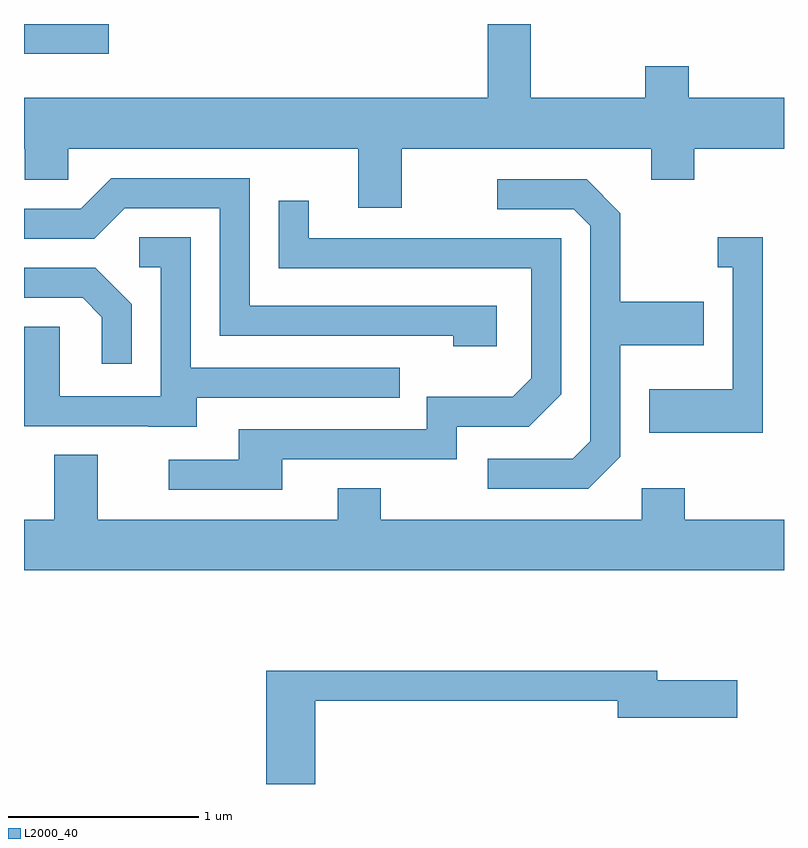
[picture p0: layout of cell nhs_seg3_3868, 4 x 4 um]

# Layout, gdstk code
import gdstk
lib = gdstk.Library(unit=1e-6, precision=1e-09)
def R(c, l, rs):  # rectangles x0, y0, x1, y1
    for r in rs: c.add(gdstk.rectangle(r[:2], r[2:], *l))
def P(c, l, *ps):  # polygons
    for p in ps: c.add(gdstk.Polygon(p, *l))
L2000_40 = (2000, 40)

nhs_seg3_3868 = lib.new_cell('nhs_seg3_3868')
R(nhs_seg3_3868, L2000_40, [(297.611,1239.736,298.058,1239.892)])
P(nhs_seg3_3868, L2000_40, [(299.599,1239.236),(300.911,1239.236),(300.911,1239.071),(301.139,1239.071),(301.139,1239.236),(301.611,1239.236),(301.611,1239.504),(301.109,1239.504),(301.109,1239.669),(300.881,1239.669),(300.881,1239.504),(300.279,1239.504),(300.279,1239.892),(300.051,1239.892),(300.051,1239.504),(297.611,1239.504),(297.611,1239.236),(297.616,1239.236),(297.616,1239.071),(297.844,1239.071),(297.844,1239.236),(299.371,1239.236),(299.371,1238.926),(299.599,1238.926)],
  [(300.099,1238.409),(298.799,1238.409),(298.799,1239.079),(298.069,1239.079),(297.909,1238.919),(297.611,1238.919),(297.611,1238.761),(297.982,1238.761),(298.142,1238.921),(298.641,1238.921),(298.641,1238.251),(299.871,1238.251),(299.871,1238.196),(300.099,1238.196)],
  [(300.749,1237.614),(300.749,1238.201),(301.189,1238.201),(301.189,1238.429),(300.749,1238.429),(300.749,1238.897),(300.572,1239.074),(300.103,1239.074),(300.103,1238.916),(300.504,1238.916),(300.591,1238.829),(300.591,1237.697),(300.499,1237.604),(300.053,1237.604),(300.053,1237.446),(300.582,1237.446)],
  [(298.969,1237.601),(299.889,1237.601),(299.889,1237.771),(300.267,1237.771),(300.439,1237.944),(300.439,1238.764),(299.109,1238.764),(299.109,1238.963),(298.951,1238.963),(298.951,1238.606),(300.281,1238.606),(300.281,1238.027),(300.184,1237.929),(299.731,1237.929),(299.731,1237.759),(298.741,1237.759),(298.741,1237.599),(298.373,1237.599),(298.373,1237.441),(298.969,1237.441)],
  [(301.499,1238.769),(301.263,1238.769),(301.263,1238.611),(301.341,1238.611),(301.341,1237.969),(300.901,1237.969),(300.901,1237.741),(301.499,1237.741)],
  [(298.519,1237.926),(299.588,1237.926),(299.588,1238.084),(298.489,1238.084),(298.489,1238.769),(298.218,1238.769),(298.218,1238.611),(298.331,1238.611),(298.331,1237.934),(297.799,1237.934),(297.799,1238.299),(297.611,1238.299),(297.611,1237.776),(298.265,1237.776),(298.265,1237.771),(298.519,1237.771)],
  [(298.179,1238.417),(297.987,1238.609),(297.611,1238.609),(297.611,1238.451),(297.919,1238.451),(298.021,1238.349),(298.021,1238.103),(298.179,1238.103)],
  [(301.611,1237.284),(301.089,1237.284),(301.089,1237.449),(300.861,1237.449),(300.861,1237.284),(299.489,1237.284),(299.489,1237.449),(299.261,1237.449),(299.261,1237.284),(297.999,1237.284),(297.999,1237.624),(297.771,1237.624),(297.771,1237.284),(297.611,1237.284),(297.611,1237.016),(301.611,1237.016)],
  [(299.144,1236.331),(300.736,1236.331),(300.736,1236.241),(301.364,1236.241),(301.364,1236.439),(300.944,1236.439),(300.944,1236.489),(298.886,1236.489),(298.886,1235.892),(299.144,1235.892)])

lib.write_gds('nhs_seg3_3868.gds')
